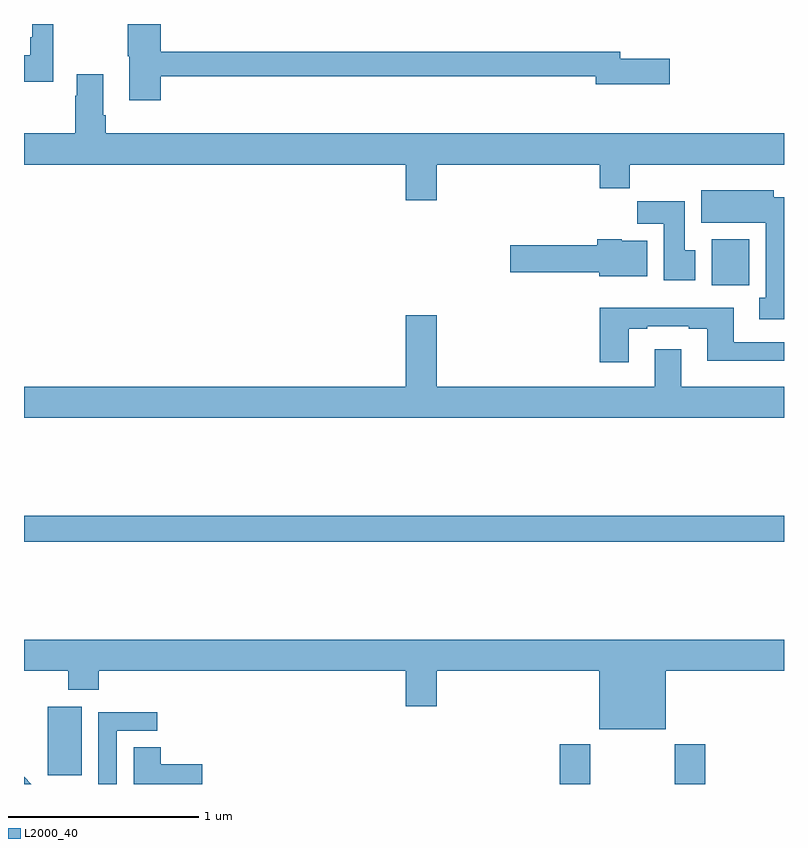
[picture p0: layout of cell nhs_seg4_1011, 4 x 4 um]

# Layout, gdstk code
import gdstk
lib = gdstk.Library(unit=1e-6, precision=1e-09)
def R(c, l, rs):  # rectangles x0, y0, x1, y1
    for r in rs: c.add(gdstk.rectangle(r[:2], r[2:], *l))
def P(c, l, *ps):  # polygons
    for p in ps: c.add(gdstk.Polygon(p, *l))
L2000_40 = (2000, 40)

nhs_seg4_1011 = lib.new_cell('nhs_seg4_1011')
R(nhs_seg4_1011, L2000_40, [(165.821,786.9,165.981,787.108), (166.426,786.9,166.586,787.108), (163.124,786.945,163.303,787.306), (163,788.176,167,788.312), (166.619,789.524,166.816,789.766)])
P(nhs_seg4_1011, L2000_40, [(163.153,790.9),(163.044,790.9),(163.044,790.831),(163.032,790.831),(163.032,790.735),(163,790.735),(163,790.595),(163.153,790.595)],
  [(163.721,790.626),(166.01,790.626),(166.01,790.583),(166.399,790.583),(166.399,790.718),(166.138,790.718),(166.138,790.754),(163.721,790.754),(163.721,790.9),(163.546,790.9),(163.546,790.731),(163.553,790.731),(163.553,790.5),(163.721,790.5)],
  [(163.43,790.42),(163.417,790.42),(163.417,790.636),(163.277,790.636),(163.277,790.523),(163.27,790.523),(163.27,790.324),(163,790.324),(163,790.16),(165.008,790.16),(165.008,789.972),(165.172,789.972),(165.172,790.16),(166.031,790.16),(166.031,790.036),(166.187,790.036),(166.187,790.16),(167,790.16),(167,790.324),(163.43,790.324)],
  [(167,789.988),(166.945,789.988),(166.945,790.024),(166.565,790.024),(166.565,789.854),(166.904,789.854),(166.904,789.458),(166.871,789.458),(166.871,789.345),(167,789.345)],
  [(166.534,789.708),(166.477,789.708),(166.477,789.966),(166.228,789.966),(166.228,789.848),(166.367,789.848),(166.367,789.552),(166.534,789.552)],
  [(166.279,789.76),(166.146,789.76),(166.146,789.766),(166.016,789.766),(166.016,789.735),(165.558,789.735),(165.558,789.593),(166.028,789.593),(166.028,789.572),(166.279,789.572)],
  [(166.183,789.297),(166.279,789.297),(166.279,789.309),(166.499,789.309),(166.499,789.297),(166.595,789.297),(166.595,789.128),(167,789.128),(167,789.225),(166.735,789.225),(166.735,789.406),(166.031,789.406),(166.031,789.12),(166.183,789.12)],
  [(167,788.992),(166.459,788.992),(166.459,789.187),(166.319,789.187),(166.319,788.992),(165.172,788.992),(165.172,789.367),(165.008,789.367),(165.008,788.992),(163,788.992),(163,788.828),(167,788.828)],
  [(166.378,787.496),(167,787.496),(167,787.66),(163,787.66),(163,787.496),(163.234,787.496),(163.234,787.397),(163.394,787.397),(163.394,787.496),(165.008,787.496),(165.008,787.308),(165.172,787.308),(165.172,787.496),(166.028,787.496),(166.028,787.187),(166.378,787.187)],
  [(163.488,787.179),(163.702,787.179),(163.702,787.278),(163.392,787.278),(163.392,786.9),(163.488,786.9)],
  [(163.939,787.004),(163.721,787.004),(163.721,787.094),(163.577,787.094),(163.577,786.9),(163.939,786.9)],
  [(163,786.939),(163,786.9),(163.038,786.9)])

lib.write_gds('nhs_seg4_1011.gds')
